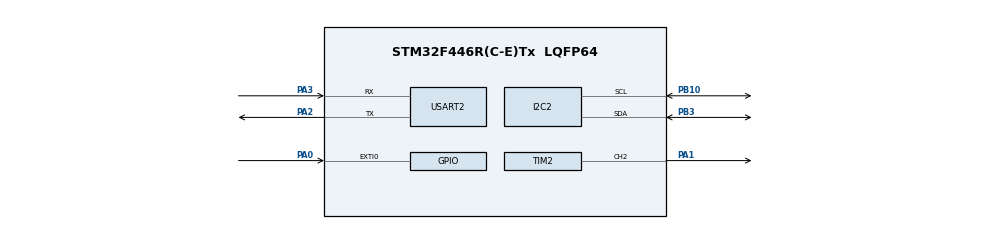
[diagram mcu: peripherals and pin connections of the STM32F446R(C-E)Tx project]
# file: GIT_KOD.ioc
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Mcu.Family=STM32F4
Mcu.Name=STM32F446R(C-E)Tx
Mcu.Package=LQFP64
NVIC.PriorityGroup=NVIC_PRIORITYGROUP_4
PA0-WKUP.Signal=GPXTI0
PA1.Signal=S_TIM2_CH2
PA13.Mode=Serial_Wire
PA13.Signal=SYS_JTMS-SWDIO
PA14.Mode=Serial_Wire
PA14.Signal=SYS_JTCK-SWCLK
PA2.Mode=Asynchronous
PA2.Signal=USART2_TX
PA3.Mode=Asynchronous
PA3.Signal=USART2_RX
PB10.Mode=I2C
PB10.Signal=I2C2_SCL
PB3.Mode=I2C
PB3.Signal=I2C2_SDA
ProjectManager.HeapSize=0x200
ProjectManager.StackSize=0x400
ProjectManager.TargetToolchain=STM32CubeIDE
RCC.CortexFreq_Value=16000000
RCC.USBFreq_Value=96000000
RCC.VCOOutputFreq_Value=192000000
SH.S_TIM2_CH2.0=TIM2_CH2,PWM Generation2 CH2
TIM2.Channel-PWM\ Generation2\ CH2=TIM_CHANNEL_2
USART2.VirtualMode=VM_ASYNC
board=custom

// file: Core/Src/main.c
/* USER CODE BEGIN Header */
/**
  ******************************************************************************
  * @file           : main.c
  * @brief          : Main program body
  ******************************************************************************
  * @attention
  *
  * Copyright (c) 2024 STMicroelectronics.
  * All rights reserved.
  *
  * This software is licensed under terms that can be found in the LICENSE file
  * in the root directory of this software component.
  * If no LICENSE file comes with this software, it is provided AS-IS.
  *
  ******************************************************************************
  */
/* USER CODE END Header */
#include "main.h"
#include "i2c.h"
#include "tim.h"
#include "usart.h"
#include "gpio.h"

/* USER CODE BEGIN Includes */
#include <stdio.h>
#ifdef __GNUC__
#define PUTCHAR_PROTOTYPE int __io_putchar(int ch)
#define GETCHAR_PROTOTYPE int __io_getchar(void)
#else
#define PUTCHAR_PROTOTYPE int fputc(int ch, FILE *f)
#define GETCHAR_PROTOTYPE int fgetc(FILE *f)
#endif

PUTCHAR_PROTOTYPE
{
 HAL_UART_Transmit(&huart2, (uint8_t *)&ch, 1, HAL_MAX_DELAY);
 return ch;
}
GETCHAR_PROTOTYPE
{
 uint8_t ch = 0;
 __HAL_UART_CLEAR_OREFLAG(&huart2);
 HAL_UART_Receive(&huart2, (uint8_t *)&ch, 1, HAL_MAX_DELAY);
 HAL_UART_Transmit(&huart2, (uint8_t *)&ch, 1, HAL_MAX_DELAY);
 return ch;
}

/* USER CODE END Includes */

void SystemClock_Config(void);

/* USER CODE BEGIN 0 */
//definiranje varijable čiju vrijednost će mijenjati interrupt//
uint8_t flag;
/* USER CODE END 0 */

int main(void)
{
  /* USER CODE BEGIN 1 */
	setvbuf(stdin, NULL, _IONBF, 0);
  /* USER CODE END 1 */

  /* MCU Configuration--------------------------------------------------------*/

  /* Reset of all peripherals, Initializes the Flash interface and the Systick. */
  HAL_Init();

  /* Configure the system clock */
  SystemClock_Config();

  /* Initialize all configured peripherals */
  MX_GPIO_Init();
  MX_I2C2_Init();
  MX_TIM2_Init();
  MX_USART2_UART_Init();

  /* Infinite loop */
	//definiranje adrese, upute paljenja i moda I2Ca//
	uint8_t addr = 0b0100011;
	uint8_t pwrup = 0b00000001;
	uint8_t mod = 0b00010000;
	//definiranje varijable za spremanje podatka primljenog s BH1750 senzora i varijable za spremanje konačne preračunate vrijednosti//
	char lux[2];
	uint16_t LUX;
	//pomoćna varijabla za mijenjanje PWM duty cyclea//
	 uint8_t i;
	/* USER CODE BEGIN WHILE */
	//pokretanje I2C komunikacije između Nuclea i BH1750, slanje upute o modu rada//
	HAL_I2C_Master_Transmit(&hi2c2, addr << 1, &pwrup, sizeof(pwrup), 100);
	HAL_I2C_Master_Transmit(&hi2c2, addr << 1, &mod, sizeof(mod), 100);
	//primanje i obrada podataka na Nucleo s BH1750 I2C protokolom//
	while (1) {
		HAL_I2C_Master_Receive(&hi2c2, addr << 1, &lux, sizeof(lux), 10);
		LUX = ((lux[0] << 8) | lux[1]) / 1.2;
		printf("Razina osvjetljenja je: %d\r\n", LUX);
		HAL_Delay(1000);
		//Je li dovoljno mračno da PIR počne s radom(radi po noći)//
		if (LUX <= 50) {
			//Je li PIR aktivirao interrupt//
			if (flag == 1) {
				//Pokrenut PWM i variran duty cycle//
				for (i = 1; i <= 10; i++) {
					HAL_TIM_PWM_Start(&htim2, TIM_CHANNEL_2);
					__HAL_TIM_SET_COMPARE(&htim2, TIM_CHANNEL_2, i * 90);
					HAL_Delay(500);
				}
//for petlja odrađena, pwm isključen//
				HAL_TIM_PWM_Stop(&htim2, TIM_CHANNEL_2);
			}
			//zastavica indikator interrupta vraćena u nulu, provjera ispočetka//
			 flag = 0;
		}
	}
		/* USER CODE END WHILE */

}

void SystemClock_Config(void)
{
  RCC_OscInitTypeDef RCC_OscInitStruct = {0};
  RCC_ClkInitTypeDef RCC_ClkInitStruct = {0};

  /** Configure the main internal regulator output voltage
  */
  __HAL_RCC_PWR_CLK_ENABLE();
  __HAL_PWR_VOLTAGESCALING_CONFIG(PWR_REGULATOR_VOLTAGE_SCALE3);

  /** Initializes the RCC Oscillators according to the specified parameters
  * in the RCC_OscInitTypeDef structure.
  */
  RCC_OscInitStruct.OscillatorType = RCC_OSCILLATORTYPE_HSI;
  RCC_OscInitStruct.HSIState = RCC_HSI_ON;
  RCC_OscInitStruct.HSICalibrationValue = RCC_HSICALIBRATION_DEFAULT;
  RCC_OscInitStruct.PLL.PLLState = RCC_PLL_NONE;
  if (HAL_RCC_OscConfig(&RCC_OscInitStruct) != HAL_OK)
  {
    Error_Handler();
  }

  /** Initializes the CPU, AHB and APB buses clocks
  */
  RCC_ClkInitStruct.ClockType = RCC_CLOCKTYPE_HCLK|RCC_CLOCKTYPE_SYSCLK
                              |RCC_CLOCKTYPE_PCLK1|RCC_CLOCKTYPE_PCLK2;
  RCC_ClkInitStruct.SYSCLKSource = RCC_SYSCLKSOURCE_HSI;
  RCC_ClkInitStruct.AHBCLKDivider = RCC_SYSCLK_DIV1;
  RCC_ClkInitStruct.APB1CLKDivider = RCC_HCLK_DIV1;
  RCC_ClkInitStruct.APB2CLKDivider = RCC_HCLK_DIV1;

  if (HAL_RCC_ClockConfig(&RCC_ClkInitStruct, FLASH_LATENCY_0) != HAL_OK)
  {
    Error_Handler();
  }
}

/* USER CODE BEGIN 4 */
//Callback funkcija interrupta aktiviranog PIR senzorom//
void HAL_GPIO_EXTI_Callback(uint16_t GPIO_Pin)
  {
	  flag=1;
  }
/* USER CODE END 4 */

void Error_Handler(void)
{
  __disable_irq();
  while (1)
  {
  }
}
